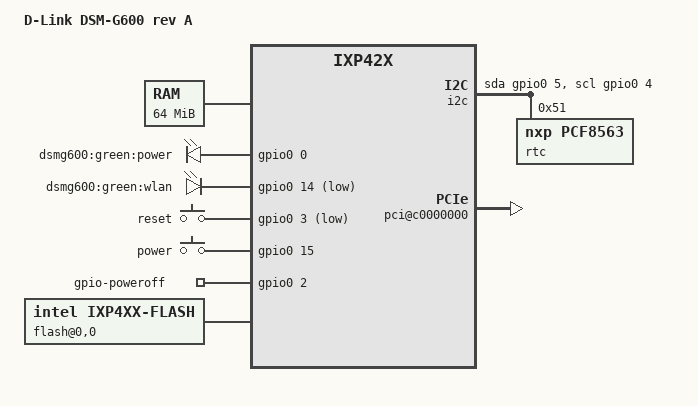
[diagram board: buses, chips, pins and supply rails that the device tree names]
// SPDX-License-Identifier: ISC
/*
 * Device Tree file for D-Link DSM-G600 revision A based on IXP420
 * NOTE: revision B of this device uses PowerPC and is NOT supported by
 * this device tree.
 *
 * Inspired by the boardfile by Rod Whitby, Tower Technologies, Alessandro Zummo
 * and Michael Westerhof.
 */

/dts-v1/;

#include "intel-ixp42x.dtsi"
#include <dt-bindings/input/input.h>

/ {
	model = "D-Link DSM-G600 rev A";
	compatible = "dlink,dsm-g600-a", "intel,ixp42x";
	#address-cells = <1>;
	#size-cells = <1>;

	memory@0 {
		/* 64 MB SDRAM */
		device_type = "memory";
		reg = <0x00000000 0x4000000>;
	};

	chosen {
		bootargs = "console=ttyS0,115200n8 root=/dev/sda1 rw rootwait";
		stdout-path = "uart0:115200n8";
	};

	aliases {
		serial0 = &uart0;
	};

	leds {
		compatible = "gpio-leds";
		led-power {
			label = "dsmg600:green:power";
			gpios = <&gpio0 0 GPIO_ACTIVE_HIGH>;
			default-state = "on";
			linux,default-trigger = "heartbeat";
		};
		led-wlan {
			label = "dsmg600:green:wlan";
			/* CHECKME: flagged as active low in the old board file */
			gpios = <&gpio0 14 GPIO_ACTIVE_LOW>;
			default-state = "on";
			/* We don't have WLAN trigger in the kernel (yet) */
			linux,default-trigger = "netdev";
		};
	};

	gpio_keys {
		compatible = "gpio-keys";

		button-reset {
			wakeup-source;
			linux,code = <KEY_ESC>;
			label = "reset";
			gpios = <&gpio0 3 GPIO_ACTIVE_LOW>;
		};
	};

	gpio_keys_polled {
		compatible = "gpio-keys-polled";

		/*
		 * According to the board file this key cannot handle interrupts and
		 * need to be polled. Investigate if this is really the case or if
		 * this can be moved adjacent to the ordinary gpio-keys above.
		 */
		button-power {
			wakeup-source;
			linux,code = <KEY_POWER>;
			label = "power";
			gpios = <&gpio0 15 GPIO_ACTIVE_HIGH>;
		};
	};

	i2c {
		compatible = "i2c-gpio";
		sda-gpios = <&gpio0 5 (GPIO_ACTIVE_HIGH|GPIO_OPEN_DRAIN)>;
		scl-gpios = <&gpio0 4 (GPIO_ACTIVE_HIGH|GPIO_OPEN_DRAIN)>;
		#address-cells = <1>;
		#size-cells = <0>;

		rtc@51 {
			compatible = "nxp,pcf8563";
			reg = <0x51>;
		};
	};

	gpio-poweroff {
		compatible = "gpio-poweroff";
		gpios = <&gpio0 2 GPIO_ACTIVE_HIGH>;
		timeout-ms = <5000>;
	};

	soc {
		bus@c4000000 {
			/* The first 16MB region at CS0 on the expansion bus */
			flash@0,0 {
				compatible = "intel,ixp4xx-flash", "cfi-flash";
				bank-width = <2>;
				/*
				 * 16 MB of Flash in 128 0x20000 sized blocks
				 * mapped in at CS0.
				 */
				reg = <0 0x00000000 0x1000000>;

				partitions {
					compatible = "redboot-fis";
					/*
					 * A boot log says the directory is at 0xfe0000
					 * 0x7f * 0x20000 = 0xfe0000
					 */
					fis-index-block = <0x7f>;
				};
			};
		};

		pci@c0000000 {
			status = "ok";

			/*
			 * Taken from DSM-G600 PCI boardfile (dsmg600-pci.c)
			 * We have slots (IDSEL) 1, 2, 3, 4 and pins 1, 2 and 3.
			 * Only slot 3 have three IRQs.
			 */
			#interrupt-cells = <1>;
			interrupt-map-mask = <0xf800 0 0 7>;
			interrupt-map =
			/* IDSEL 1 */
			<0x0800 0 0 1 &gpio0 7  IRQ_TYPE_LEVEL_LOW>, /* INT E on slot 1 is irq 7 */
			/* IDSEL 2 */
			<0x1000 0 0 1 &gpio0 11 IRQ_TYPE_LEVEL_LOW>, /* INT A on slot 2 is irq 11 */
			/* IDSEL 3 */
			<0x1800 0 0 1 &gpio0 10 IRQ_TYPE_LEVEL_LOW>, /* INT B on slot 3 is irq 10 */
			<0x1800 0 0 2 &gpio0 9  IRQ_TYPE_LEVEL_LOW>, /* INT C on slot 3 is irq 9 */
			<0x1800 0 0 3 &gpio0 8  IRQ_TYPE_LEVEL_LOW>, /* INT D on slot 3 is irq 8 */
			/* IDSEL 4 */
			<0x2000 0 0 3 &gpio0 6  IRQ_TYPE_LEVEL_LOW>; /* INT F on slot 4 is irq 6 */
		};
	};
};
